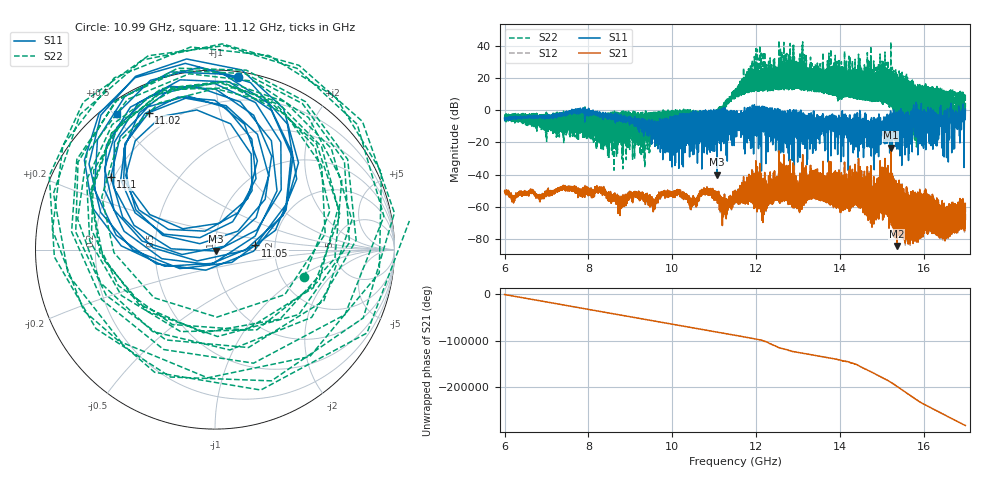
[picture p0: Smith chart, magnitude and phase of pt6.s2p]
#  HZ  S  RI  R  50.00
! Rohde & Schwarz Vector Network Analyzer
! Rohde-Schwarz,ZNA67-2Port,1332450062101215,3.01
! Created: UTC 10/15/2026, 12:27:56 PM
! freq[Hz]  re:S11  im:S11  re:S21  im:S21  re:S12  im:S12  re:S22  im:S22
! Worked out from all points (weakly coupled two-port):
!   11001 points, 6 GHz to 17 GHz, reference 50 ohm
!   highest |S21| = -23.28 dB at 15.22 GHz (marker M1); lowest = -84.4 dB at 15.37 GHz (marker M2)
!   lowest |S11| = -39.9 dB at 11.07 GHz (marker M3), VSWR 1.02, Z = 50.6 - j0.814 ohm
!   |S11| at or under -10 dB: 9.54167 GHz to 9.556638 GHz (14.97 MHz wide, 0.157 % of centre); 14.07886 GHz to 14.09299 GHz (14.13 MHz wide, 0.1 % of centre); 14.78617 GHz to 14.80114 GHz (14.96 MHz wide, 0.101 % of centre) (the widest 3 of 568)
!   |S22| runs from -37.2 to 43.4 dB; largest |S21 - S12| = 0.0027
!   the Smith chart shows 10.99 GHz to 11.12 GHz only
!   S11 on the Smith chart (normalised r, x): 10.99 GHz: 0.04, +1.14; 11.02 GHz: 0.11, +0.62; 11.05 GHz: 1.58, +0.08; 11.1 GHz: 0.19, +0.30; 11.12 GHz: 0.04, +0.51
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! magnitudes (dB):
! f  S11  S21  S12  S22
! 6 GHz  -5.0  -50.3  -50.2  -5.5
! 7.834 GHz  -0.8  -52.4  -52.1  -4.2
! 9.667 GHz  -8.2  -55.3  -55.7  -1.9
! 10.99 GHz  -0.3  -50.4  -50.4  -5.7
! 11.02 GHz  -1.4  -52.1  -52.1  -1.4
! 11.05 GHz  -12.9  -50.5  -50.6  -3.6
! 11.07 GHz  -39.9  -50.9  -51.0  -4.1
! 11.1 GHz  -3.0  -55.0  -55.2  1.2
! 11.12 GHz  -0.6  -55.3  -55.2  1.9
! 11.5 GHz  -3.7  -54.6  -54.4  9.1
! 12.16 GHz  -1.6  -66.9  -67.6  14.8
! 12.6 GHz  -3.4  -55.3  -55.4  13.4
! 13.03 GHz  -17.4  -59.0  -58.3  15.9
! 13.33 GHz  -14.3  -51.0  -50.7  15.8
! 14.37 GHz  -10.9  -54.7  -54.6  12.3
! 14.76 GHz  -10.0  -58.4  -57.4  19.8
! 15.17 GHz  -13.0  -64.4  -64.5  5.2
! 15.22 GHz  -6.1  -23.3  -23.4  42.5
! 15.37 GHz  -17.1  -84.4  -84.4  -0.3
! 15.8 GHz  -6.7  -63.3  -63.0  3.9
! 16.5 GHz  -3.4  -63.7  -63.3  10.5
! 17 GHz  0.8  -67.8  -67.8  1.8
